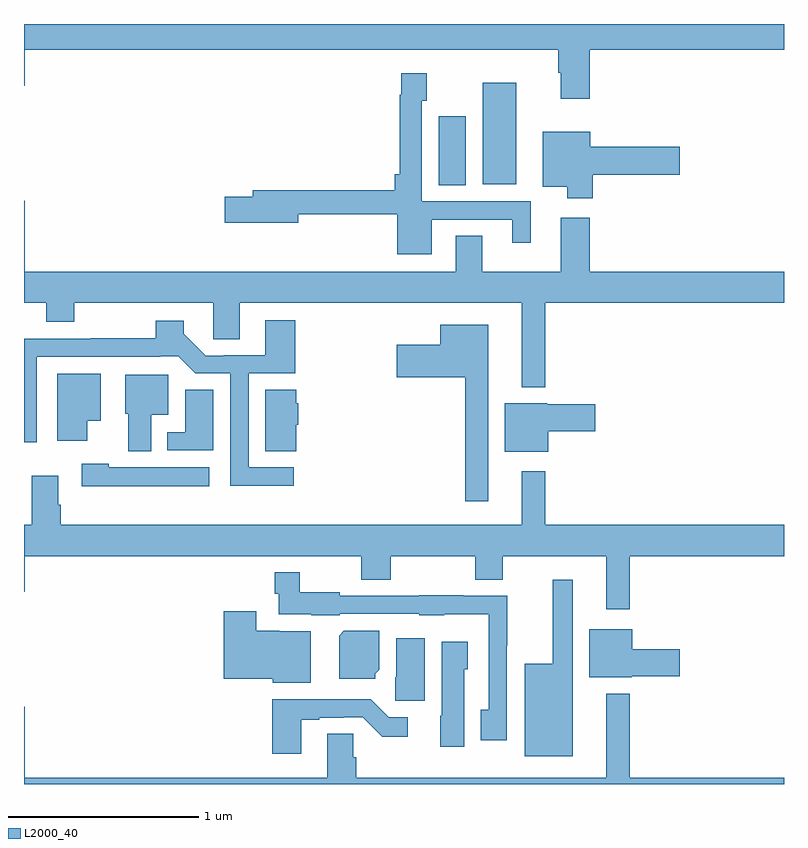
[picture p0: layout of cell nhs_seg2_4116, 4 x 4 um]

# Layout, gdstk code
import gdstk
lib = gdstk.Library(unit=1e-6, precision=1e-09)
def R(c, l, rs):  # rectangles x0, y0, x1, y1
    for r in rs: c.add(gdstk.rectangle(r[:2], r[2:], *l))
def P(c, l, *ps):  # polygons
    for p in ps: c.add(gdstk.Polygon(p, *l))
L2000_40 = (2000, 40)

nhs_seg2_4116 = lib.new_cell('nhs_seg2_4116')
R(nhs_seg2_4116, L2000_40, [(335.183,618.952,335.326,619.315), (335.414,618.956,335.59,619.492)])
P(nhs_seg2_4116, L2000_40, [(333,619.476),(333.004,619.476),(333.004,619.664),(335.813,619.664),(335.813,619.544),(335.825,619.544),(335.825,619.407),(335.978,619.407),(335.978,619.664),(337,619.664),(337,619.8),(333,619.8)],
  [(335.146,618.771),(335.57,618.771),(335.57,618.648),(335.668,618.648),(335.668,618.867),(335.094,618.867),(335.094,619.395),(335.121,619.395),(335.121,619.54),(334.986,619.54),(334.986,619.427),(334.978,619.427),(334.978,619.009),(334.952,619.009),(334.952,618.926),(334.205,618.926),(334.205,618.89),(334.056,618.89),(334.056,618.755),(334.444,618.755),(334.444,618.798),(334.964,618.798),(334.964,618.587),(335.146,618.587)],
  [(335.993,619.007),(336.451,619.007),(336.451,619.154),(335.98,619.154),(335.98,619.234),(335.729,619.234),(335.729,618.944),(335.858,618.944),(335.858,618.882),(335.993,618.882)],
  [(335.743,618.332),(337,618.332),(337,618.496),(335.978,618.496),(335.978,618.781),(335.825,618.781),(335.825,618.496),(335.413,618.496),(335.413,618.686),(335.273,618.686),(335.273,618.496),(333.004,618.496),(333.004,618.871),(333,618.871),(333,618.332),(333.116,618.332),(333.116,618.233),(333.264,618.233),(333.264,618.332),(333.996,618.332),(333.996,618.142),(334.135,618.142),(334.135,618.332),(335.621,618.332),(335.621,617.888),(335.743,617.888)],
  [(334.42,617.466),(334.182,617.466),(334.182,617.961),(334.427,617.961),(334.427,618.241),(334.271,618.241),(334.271,618.057),(334.051,618.057),(334.051,618.054),(333.957,618.054),(333.841,618.17),(333.841,618.238),(333.694,618.238),(333.694,618.146),(333.352,618.146),(333.352,618.144),(333,618.144),(333,617.598),(333.066,617.598),(333.066,618.048),(333.716,618.048),(333.716,618.051),(333.812,618.051),(333.902,617.961),(334.086,617.961),(334.086,617.369),(334.42,617.369)],
  [(335.443,618.217),(335.192,618.217),(335.192,618.112),(334.962,618.112),(334.962,617.942),(335.322,617.942),(335.322,617.289),(335.443,617.289)],
  [(333.334,617.711),(333.403,617.711),(333.403,617.959),(333.176,617.959),(333.176,617.607),(333.334,617.607)],
  [(333.67,617.744),(333.76,617.744),(333.76,617.953),(333.533,617.953),(333.533,617.748),(333.548,617.748),(333.548,617.552),(333.67,617.552)],
  [(333.997,617.876),(333.848,617.876),(333.848,617.652),(333.755,617.652),(333.755,617.556),(333.997,617.556)],
  [(334.432,617.691),(334.444,617.691),(334.444,617.805),(334.432,617.805),(334.432,617.876),(334.271,617.876),(334.271,617.551),(334.432,617.551)],
  [(335.758,617.656),(336.007,617.656),(336.007,617.798),(335.754,617.798),(335.754,617.803),(335.531,617.803),(335.531,617.549),(335.758,617.549)],
  [(333.976,617.467),(333.447,617.467),(333.447,617.485),(333.303,617.485),(333.303,617.366),(333.976,617.366)],
  [(336.187,617),(337,617),(337,617.164),(335.743,617.164),(335.743,617.446),(335.621,617.446),(335.621,617.164),(333.194,617.164),(333.194,617.27),(333.181,617.27),(333.181,617.422),(333.041,617.422),(333.041,617.164),(333,617.164),(333,616.812),(333.004,616.812),(333.004,617),(334.774,617),(334.774,616.876),(334.929,616.876),(334.929,617),(335.374,617),(335.374,616.876),(335.521,616.876),(335.521,617),(336.065,617),(336.065,616.719),(336.187,616.719)],
  [(335.541,616.528),(335.544,616.528),(335.544,616.791),(335.311,616.791),(335.311,616.793),(335.079,616.793),(335.079,616.791),(334.662,616.791),(334.662,616.81),(334.45,616.81),(334.45,616.915),(334.321,616.915),(334.321,616.802),(334.341,616.802),(334.341,616.694),(334.512,616.694),(334.512,616.688),(334.662,616.688),(334.662,616.695),(335.079,616.695),(335.079,616.688),(335.211,616.688),(335.211,616.694),(335.445,616.694),(335.445,616.19),(335.405,616.19),(335.405,616.029),(335.541,616.029)],
  [(335.887,616.876),(335.783,616.876),(335.783,616.432),(335.636,616.432),(335.636,615.947),(335.887,615.947)],
  [(334.51,616.604),(334.344,616.604),(334.344,616.606),(334.222,616.606),(334.222,616.708),(334.052,616.708),(334.052,616.355),(334.308,616.355),(334.308,616.334),(334.51,616.334)],
  [(336.198,616.367),(336.451,616.367),(336.451,616.509),(336.202,616.509),(336.202,616.615),(335.975,616.615),(335.975,616.361),(336.198,616.361)],
  [(334.848,616.38),(334.87,616.402),(334.87,616.606),(334.684,616.606),(334.658,616.58),(334.658,616.355),(334.848,616.355)],
  [(335.11,616.567),(334.958,616.567),(334.958,616.362),(334.954,616.362),(334.954,616.239),(335.11,616.239)],
  [(335.317,616.404),(335.335,616.404),(335.335,616.549),(335.198,616.549),(335.198,616.158),(335.192,616.158),(335.192,615.996),(335.317,615.996)],
  [(337,615.832),(336.187,615.832),(336.187,616.276),(336.065,616.276),(336.065,615.832),(334.748,615.832),(334.748,615.942),(334.734,615.942),(334.734,616.064),(334.595,616.064),(334.595,615.832),(333.004,615.832),(333.004,616.207),(333,616.207),(333,615.8),(337,615.8)],
  [(334.459,616.137),(334.555,616.137),(334.555,616.149),(334.682,616.149),(334.682,616.152),(334.782,616.152),(334.885,616.05),(335.02,616.05),(335.02,616.152),(334.92,616.152),(334.826,616.246),(334.307,616.246),(334.307,615.96),(334.459,615.96)])

lib.write_gds('nhs_seg2_4116.gds')
